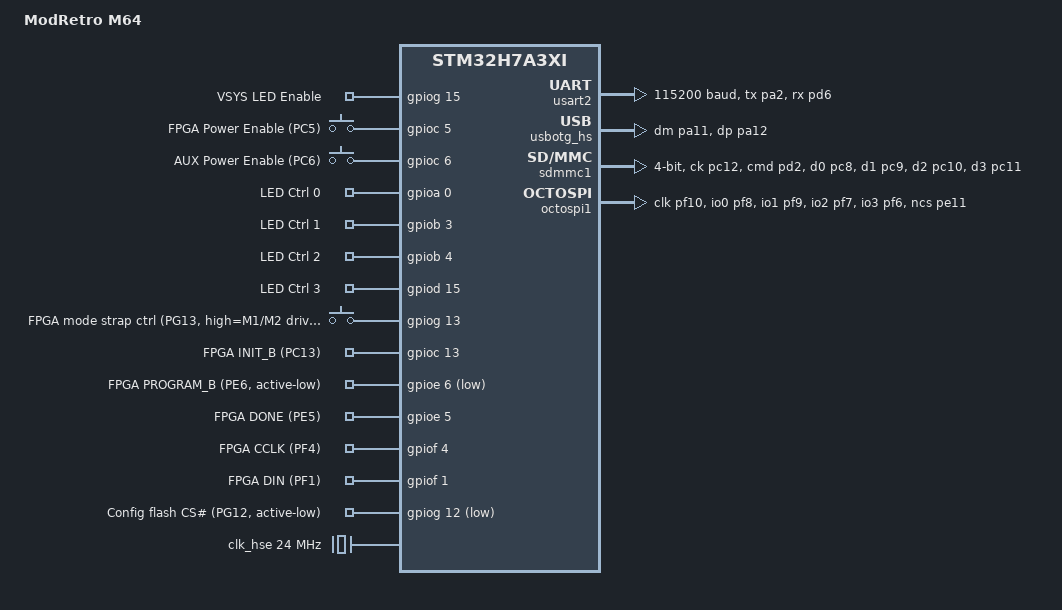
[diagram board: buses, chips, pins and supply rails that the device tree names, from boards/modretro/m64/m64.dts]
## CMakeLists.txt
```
# SPDX-License-Identifier: Apache-2.0

# Application entry point
cmake_minimum_required(VERSION 3.20.0)

# Point Zephyr at this repo's out-of-tree board directory.
set(BOARD_ROOT ${CMAKE_CURRENT_SOURCE_DIR})

find_package(Zephyr REQUIRED HINTS $ENV{ZEPHYR_BASE})
project(m64_app)

target_sources(app PRIVATE src/main.c src/leds.c src/fpga_prg.c src/fpga_spi.c src/osd.c src/menu.c)
```

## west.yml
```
# West manifest for the ModRetro M64 (STM32H7A3ZIT6) application.
#
# This makes m64-misc/mcu a self-contained west workspace that pulls in
# upstream Zephyr but only the modules needed to build for STM32H7.
#
# Bootstrap (from the repo, with a Python venv + west installed):
#
#   cd /home/markus/work/repos/m64-misc
#   west init -l mcu
#   west update
#   west zephyr-export
#
# Then build:
#
#   export ZEPHYR_BASE=$(west topdir)/zephyr
#   cd mcu
#   west build -b m64 .
#
# To add a module later, add its name to the name-allowlist below and
# re-run `west update`.

manifest:
  remotes:
    - name: zephyrproject-rtos
      url-base: https://github.com/zephyrproject-rtos

  projects:
    - name: zephyr
      remote: zephyrproject-rtos
      revision: v4.1.0
      import:
        # Only clone the modules required for an STM32H7 Cortex-M7 target.
        name-allowlist:
          - cmsis          # ARM CMSIS core (required for Cortex-M)
          - hal_stm32      # STM32 HAL/LL drivers (required for this SoC)
          - fatfs          # ELM-ChaN FatFs (FAT filesystem for the SD card)
          # Uncomment as needed:
          # - mcuboot      # secure bootloader
          # - segger       # SEGGER RTT / J-Link
          # - hal_st       # ST sensor/component HALs
          # - littlefs     # LittleFS filesystem
          # - tinycrypt    # crypto primitives

  self:
    # Path of THIS manifest repo within the workspace. `west init -l mcu`
    # sets the workspace root to the parent (m64-misc/), so this repo lives
    # at m64-misc/mcu.
    path: mcu
```

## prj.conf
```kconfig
# Application Kconfig options
CONFIG_SERIAL=y
CONFIG_CONSOLE=y
CONFIG_UART_CONSOLE=y

# Console + logs go over the USB CDC-ACM port (see zephyr,console in the DTS).
CONFIG_LOG=y
# Logs are emitted through the shell's log backend (see below), so the
# standalone UART backend is disabled and deferred mode is used (the shell
# processes log records from its own thread).
CONFIG_LOG_BACKEND_UART=n

# Interactive shell on the USB CDC-ACM port (shares zephyr,shell-uart).
CONFIG_SHELL=y
# Route log output through the shell backend so shell prompts and log
# records don't interleave on the shared console.
CONFIG_SHELL_LOG_BACKEND=y
# Immediate (synchronous) logging: render each LOG_* at the call site instead
# of queuing it for the shell thread to drain when idle. Without this, logs
# emitted inside a long-running/blocking shell command handler are not printed
# until the handler returns (and never, if it blocks). Useful for bring-up.
CONFIG_LOG_MODE_IMMEDIATE=y

# USB device stack + CDC-ACM, used as the primary console.
# Initialize the USB device stack automatically at boot so the console is
# up before main() (and the logging backend) writes to it.
CONFIG_USB_DEVICE_STACK=y
CONFIG_USB_DEVICE_INITIALIZE_AT_BOOT=y
CONFIG_USB_DEVICE_PRODUCT="ModRetro M64"
CONFIG_USB_CDC_ACM=y
CONFIG_UART_LINE_CTRL=y

# System info for the console banner.
CONFIG_HWINFO=y
CONFIG_REBOOT=y
CONFIG_PRINTK=y

# SD card on SDMMC1: disk access + SD/SDHC stack.
CONFIG_DISK_ACCESS=y
CONFIG_DISK_DRIVER_SDMMC=y
CONFIG_SDMMC_STACK=y
CONFIG_SDHC=y

# Enable SDMMC hardware flow control: the peripheral stalls the SD clock when
# the FIFO is full/empty, preventing RX overrun / TX underrun on this marginal
# card layout (observed SDMMC_ERROR_RX_OVERRUN without it).
CONFIG_SDMMC_STM32_HWFC=y

# FAT filesystem (removable, PC-readable).
CONFIG_FILE_SYSTEM=y
CONFIG_FAT_FILESYSTEM_ELM=y
# Long filename (LFN) support. Without this FatFs only handles 8.3 names.
CONFIG_FS_FATFS_LFN=y
# LFN work-buffer location.
CONFIG_FS_FATFS_LFN_MODE_HEAP=y
# Max LFN length (1..255). Static buffer costs (MAX_LFN+1)*2 bytes.
CONFIG_FS_FATFS_MAX_LFN=255

# USB Mass Storage: export the SD card's raw blocks to the host.
# The MSC LUN maps directly to the SDMMC "SD" disk (disk_access_*), so the
# host sees the real card. FatFs and the host cannot own the FAT at the same
# time, so 'm64 sd usb on' unmounts FatFs before handing the card over.
CONFIG_USB_MASS_STORAGE=y
CONFIG_MASS_STORAGE_DISK_NAME="SD"

# CRC library, for verifying SD reads of the bitstream (m64 fpgacrc).
CONFIG_CRC=y

# OCTOSPI1 to the FPGA (custom SPI slave) is driven directly through the STM32
# HAL (HAL_OSPI_*) from src/ospi.c; no Zephyr flash driver binds to the node.
# USE_STM32_HAL_OSPI has no prompt (it is normally select'd by a driver), so it
# is select'd from the board Kconfig (boards/modretro/m64/Kconfig.m64) instead.

# libc malloc()/calloc() arena. The default arena size can be 0, in which
# case calloc() returns NULL.
CONFIG_COMMON_LIBC_MALLOC_ARENA_SIZE=8192

# Kernel heap (k_malloc), also used by FatFs for the LFN buffer.
CONFIG_HEAP_MEM_POOL_SIZE=8192

# Fault debugging: print extra register/fault info and thread names on a crash
# (resolve PC/LR with arm-zephyr-eabi-addr2line -e build/zephyr/zephyr.elf).
CONFIG_EXTRA_EXCEPTION_INFO=y
CONFIG_THREAD_NAME=y
```

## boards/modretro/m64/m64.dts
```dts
/*
 * SPDX-License-Identifier: Apache-2.0
 *
 * ModRetro M64 board devicetree.
 * SoC: STM32H7A3ZIT6 (LQFP144).
 *
 */

/dts-v1/;

/* Base SoC devicetree for the STM32H7A3xI (2 MB flash) family. */
#include <st/h7/stm32h7a3Xi.dtsi>
/* Pin control definitions for the ZI (LQFP144) package.
 * Non-Q (without-SMPS) variant: this is the STM32H7A3ZIT6 pinout that exposes
 * PF0-PF15 and PG0-PG15 (the SMPS supply pins are reassigned as GPIO.)
 */
#include <st/h7/stm32h7a3z(g-i)tx-pinctrl.dtsi>

#include <zephyr/dt-bindings/gpio/gpio.h>
#include <zephyr/dt-bindings/input/input-event-codes.h>

/ {
	model = "ModRetro M64";
	compatible = "modretro,m64";

	chosen {
		/*
		 * Primary console (printk, logs, boot banner, faults) on the
		 * USB CDC-ACM port. USART2 remains available as a wired backup
		 * but is no longer the chosen console.
		 */
		zephyr,console = &cdc_acm_uart0;
		zephyr,shell-uart = &cdc_acm_uart0;
		zephyr,sram = &sram0;
		zephyr,flash = &flash0;
		/* Place code tagged __itcm_section in zero-wait-state ITCM
		 * (used for the cycle-tight WS2812 bit-bang). */
		zephyr,itcm = &itcm;
	};

	/*
	 * Board-specific general-purpose GPIOs (Option B: custom node,
	 * driven directly via GPIO_DT_SPEC_GET(DT_NODELABEL(...), gpios)).
	 */
	m64_gpios {
		compatible = "gpio-keys";
		// Power domain enables
		vsys_led_on: vsys_led_on {
			gpios = <&gpiog 15 GPIO_ACTIVE_HIGH>;
			label = "VSYS LED Enable";
		};
		fpga_pwr_en: fpga_pwr_en {
			gpios = <&gpioc 5 GPIO_ACTIVE_HIGH>;
			label = "FPGA Power Enable (PC5)";
		};
		aux_pwr_en: aux_pwr_en {
			gpios = <&gpioc 6 GPIO_ACTIVE_HIGH>;
			label = "AUX Power Enable (PC6)";
		};

		// LEDs
		ctrl_led_data_0: ctrl_led_data_0 {
			gpios = <&gpioa 0 GPIO_ACTIVE_HIGH>;
			label = "LED Ctrl 0";
		};
		ctrl_led_data_1: ctrl_led_data_1 {
			gpios = <&gpiob 3 GPIO_ACTIVE_HIGH>;
			label = "LED Ctrl 1";
		};
		ctrl_led_data_2: ctrl_led_data_2 {
			gpios = <&gpiob 4 GPIO_ACTIVE_HIGH>;
			label = "LED Ctrl 2";
		};
		ctrl_led_data_3: ctrl_led_data_3 {
			gpios = <&gpiod 15 GPIO_ACTIVE_HIGH>;
			label = "LED Ctrl 3";
		};

		// FPGA interface
		fpga_ss_boot_ctrl: fpga_ss_boot_ctrl {
			gpios = <&gpiog 13 GPIO_ACTIVE_HIGH>;
			label = "FPGA mode strap ctrl (PG13, high=M1/M2 driven to 1V8 => M[2:0]=111)";
		};
		fpga_init_b: fpga_init_b {
			gpios = <&gpioc 13 GPIO_ACTIVE_HIGH>;
			label = "FPGA INIT_B (PC13)";
		};
		fpga_program_b: fpga_program_b {
			gpios = <&gpioe 6 GPIO_ACTIVE_LOW>;
			label = "FPGA PROGRAM_B (PE6, active-low)";
		};
		fpga_done: fpga_done {
			gpios = <&gpioe 5 GPIO_ACTIVE_HIGH>;
			label = "FPGA DONE (PE5)";
		};

		/*
		 * Slave-Serial configuration clock/data, bit-banged as plain
		 * GPIOs (temporary bring-up). CCLK=PF4, DIN=PF0. Bitstream is
		 * shifted MSB-first, one bit per CCLK rising edge.
		 */
		fpga_cclk: fpga_cclk {
			gpios = <&gpiof 4 GPIO_ACTIVE_HIGH>;
			label = "FPGA CCLK (PF4)";
		};
		fpga_din: fpga_din {
			gpios = <&gpiof 1 GPIO_ACTIVE_HIGH>;
			label = "FPGA DIN (PF1)";
		};

		/*
		 * Config flash chip-select (PG12 = OCTOSPI2 NCS). The bitstream
		 * flash shares the CCLK/DIN bus with the FPGA's Slave-Serial
		 * input, so it must be DESELECTED (CS# high) during FPGA config
		 * to keep it off the shared IO0/DIN line. Active-low.
		 */
		flash_cs: flash_cs {
			gpios = <&gpiog 12 GPIO_ACTIVE_LOW>;
			label = "Config flash CS# (PG12, active-low)";
		};
	};
};

/*
 * Clock tree.
 *
 * HSE: 24 MHz passive crystal across PH0-OSC_IN / PH1-OSC_OUT (no bypass).
 * PLL1: 24 MHz / M=12 = 2 MHz ref; xN=280 -> VCO 560 MHz; /P=2 -> 280 MHz SYSCLK.
 */
&clk_hse {
	clock-frequency = <DT_FREQ_M(24)>;
	status = "okay";
};

&clk_hsi48 {
	/* 48 MHz RC, useful for USB/RNG. */
	status = "okay";
};

&pll {
	div-m = <12>;
	mul-n = <280>;
	div-p = <2>;
	div-q = <2>;
	div-r = <2>;
	clocks = <&clk_hse>;
	status = "okay";
};

/*
 * PLL2 provides the 48 MHz SDMMC1 kernel clock (via PLL2R).
 *
 * HSE 24 MHz / M=4 = 6 MHz ref; xN=80 -> VCO 480 MHz; /R=10 -> 48 MHz.
 * (P and Q are unused here but must be valid dividers.)
 */
&pll2 {
	div-m = <4>;
	mul-n = <80>;
	div-p = <2>;
	div-q = <2>;
	div-r = <10>;
	clocks = <&clk_hse>;
	status = "okay";
};

&rcc {
	clocks = <&pll>;
	clock-frequency = <DT_FREQ_M(280)>;
	d1cpre = <1>;
	hpre = <1>;
	d1ppre = <2>;
	d2ppre1 = <2>;
	d2ppre2 = <2>;
	d3ppre = <2>;
};

/*
 * Shell / boot-log / console UART.
 *
 * USART2: TX = PA2, RX = PD6 (per M64 schematic).
 */
&usart2 {
	pinctrl-0 = <&usart2_tx_pa2 &usart2_rx_pd6>;
	pinctrl-names = "default";
	current-speed = <115200>;
	status = "okay";
};

/*
 * USB OTG HS running on the internal full-speed PHY (PA11/PA12).
 *
 * This is the same connector used for ROM-bootloader DFU. Full-speed
 * (12 Mbit/s) is ample for a CDC-ACM console. Inherits the SoC-default
 * clocks (AHB1 USB1OTGHSEN + HSI48) and the internal usb-nop-xceiv PHY.
 *
 * NOTE: The external USB3300 ULPI HS PHY is on a separate port and is not
 * used here; switch back to it if Hi-Speed throughput is needed later.
 */
zephyr_udc0: &usbotg_hs {
	pinctrl-0 = <&usb_otg_hs_dm_pa11 &usb_otg_hs_dp_pa12>;
	pinctrl-names = "default";
	status = "okay";

	cdc_acm_uart0: cdc_acm_uart0 {
		compatible = "zephyr,cdc-acm-uart";
	};
};

/*
 * SD card on SDMMC1 (4-bit bus).
 *
 *   CK  = PC12   CMD = PD2
 *   D0  = PC8    D1  = PC9    D2  = PC10   D3  = PC11
 *   DET = PE15 (card-detect, active-low: pulled low when a card is present)
 *
 * The SDMMC kernel clock is provided by the SoC default; adjust the RCC
 * domain-clock source here if the card fails to initialise.
 */
&sdmmc1 {
	pinctrl-0 = <&sdmmc1_ck_pc12 &sdmmc1_cmd_pd2
		     &sdmmc1_d0_pc8 &sdmmc1_d1_pc9
		     &sdmmc1_d2_pc10 &sdmmc1_d3_pc11>;
	pinctrl-names = "default";
	/* AHB3 bus-clock gate + 48 MHz kernel clock from PLL2R (SDMMC_SEL=1). */
	clocks = <&rcc STM32_CLOCK_BUS_AHB3 0x00010000>,
		 <&rcc STM32_SRC_PLL2_R SDMMC_SEL(1)>;
	cd-gpios = <&gpioe 15 GPIO_ACTIVE_LOW>;
	bus-width = <4>;
	/* Card clock = SDMMCCLK / (2 * clk-div) = 48 MHz / 2 = 24 MHz. */
	clk-div = <1>;
	disk-name = "SD";
	status = "okay";
};

/*
 * Custom SPI/QSPI link to the FPGA over OCTOSPI1 (I/O port 1).
 *
 * The FPGA implements a custom SPI slave; the MCU drives it directly via the
 * STM32 HAL (HAL_OSPI_*), not the Zephyr st,stm32-ospi-nor driver. Because no
 * NOR child node is attached here, no flash driver binds to this controller,
 * leaving the peripheral free for application-owned HAL transactions. This
 * node exists to (a) mux the pins and (b) gate the peripheral clock via the
 * standard Zephyr pinctrl/clock plumbing.
 *
 * Pin map (fixed by silicon on the H7A3 ZI package, I/O port 1):
 *   CLK  = PF10          NCS  = PE11
 *   IO0  = PF8           IO1  = PF9
 *   IO2  = PF7           IO3  = PF6
 *
 * NOTE: IO0..IO3 are hard-mapped to PF8/PF9/PF7/PF6 (not PF6..PF9 in order).
 * The FPGA slave must wire data[0..3] to PF8/PF9/PF7/PF6 respectively or the
 * quad-phase bytes will be bit-scrambled.
 *
 * NOTE: PF6 was previously the (now removed) fpga_rst GPIO. It is reused here
 * as OCTOSPI IO3, so the two functions are mutually exclusive.
 *
 * Kernel clock: PLL1_Q (see stm32h7a3.dtsi default: STM32_SRC_PLL1_Q
 * OSPI_SEL(1)); with the current PLL1 tree that is 280 MHz. Pick the HAL
 * ClockPrescaler in software for the SCLK your FPGA slave can meet.
 */
&octospi1 {
	pinctrl-0 = <&octospim_p1_clk_pf10
		     &octospim_p1_io0_pf8
		     &octospim_p1_io1_pf9
		     &octospim_p1_io2_pf7
		     &octospim_p1_io3_pf6
		     &octospim_p1_ncs_pe11>;
	pinctrl-names = "default";
	status = "okay";
};
```

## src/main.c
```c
#include <ff.h>
#include <soc.h>
#include <stdio.h>
#include <stdlib.h>
#include <string.h>
#include <zephyr/device.h>
#include <zephyr/drivers/gpio.h>
#include <zephyr/drivers/hwinfo.h>
#include <zephyr/drivers/uart.h>
#include <zephyr/fs/fs.h>
#include <zephyr/kernel.h>
#include <zephyr/linker/section_tags.h>
#include <zephyr/logging/log.h>
#include <zephyr/shell/shell.h>
#include <zephyr/storage/disk_access.h>
#include <zephyr/sys/crc.h>
#include <zephyr/version.h>

#include "fpga_prg.h"
#include "fpga_spi.h"
#include "leds.h"
#include "osd.h"

LOG_MODULE_REGISTER(m64, LOG_LEVEL_INF);

/* Board GPIO: VSYS LED enable (PG15, active-high). */
static const struct gpio_dt_spec vsys_led_on = GPIO_DT_SPEC_GET(DT_NODELABEL(vsys_led_on), gpios);
static const struct gpio_dt_spec fpga_pwr_en = GPIO_DT_SPEC_GET(DT_NODELABEL(fpga_pwr_en), gpios);
static const struct gpio_dt_spec aux_pwr_en = GPIO_DT_SPEC_GET(DT_NODELABEL(aux_pwr_en), gpios);

/* FatFs mount for the SD card on SDMMC1 (disk-name "SD" from the DTS). */
static FATFS fat_fs;
static struct fs_mount_t sd_mnt = {
    .type = FS_FATFS,
    .fs_data = &fat_fs,
    .mnt_point = "/SD:",
};

static bool sd_mounted = false;

/* Bring up the SD disk and mount its FAT filesystem. Returns 0 on success,
 * a negative errno on failure (e.g. no card inserted). Non-fatal: the app
 * still boots without a card.
 */
static int mount_sd(void) {
  int rc;

  if (sd_mounted) {
    return 0;
  }

  /* "SD" must match disk-name in the sdmmc node. */
  rc = disk_access_init("SD");
  if (rc != 0) {
    LOG_ERR("SD: disk_access_init failed (%d) - no card?", rc);
    return -EIO;
  }

  rc = fs_mount(&sd_mnt);
  if (rc < 0) {
    LOG_ERR("SD: fs_mount(%s) failed (%d)", sd_mnt.mnt_point, rc);
    return rc;
  }

  sd_mounted = true;
  LOG_INF("SD mounted at %s", sd_mnt.mnt_point);
  return 0;
}

/* Unmount the SD filesystem. Returns 0 on success (or if already
 * unmounted), a negative errno on failure.
 */
static int unmount_sd(void) {
  int rc;

  if (!sd_mounted) {
    return 0;
  }

  rc = fs_unmount(&sd_mnt);
  if (rc < 0) {
    LOG_ERR("SD: fs_unmount(%s) failed (%d)", sd_mnt.mnt_point, rc);
    return rc;
  }

  sd_mounted = false;
  LOG_INF("SD unmounted from %s", sd_mnt.mnt_point);
  return 0;
}

static int cmd_m64_sd_mount(const struct shell *sh, size_t argc, char **argv) {
  ARG_UNUSED(argc);
  ARG_UNUSED(argv);

  int rc = mount_sd();

  if (rc != 0) {
    shell_error(sh, "mount failed (%d)", rc);
    return rc;
  }
  shell_print(sh, "mounted at %s", sd_mnt.mnt_point);
  return 0;
}

static int cmd_m64_sd_unmount(const struct shell *sh, size_t argc, char **argv) {
  ARG_UNUSED(argc);
  ARG_UNUSED(argv);

  int rc = unmount_sd();

  if (rc != 0) {
    shell_error(sh, "unmount failed (%d)", rc);
    return rc;
  }
  shell_print(sh, "unmounted");
  return 0;
}

/* List directory contents. Usage: m64 sd ls [path]
 * Path defaults to the mount point if omitted.
 */
static int cmd_m64_sd_ls(const struct shell *sh, size_t argc, char **argv) {
  const char *path = (argc > 1) ? argv[1] : sd_mnt.mnt_point;
  struct fs_dir_t dir;
  int rc;

  if (!sd_mounted) {
    shell_error(sh, "SD not mounted (run 'm64 sd mount')");
    return -ENODEV;
  }

  fs_dir_t_init(&dir);
  rc = fs_opendir(&dir, path);
  if (rc < 0) {
    shell_error(sh, "opendir(%s) failed (%d)", path, rc);
    return rc;
  }

  while (1) {
    struct fs_dirent entry;

    rc = fs_readdir(&dir, &entry);
    if (rc < 0) {
      shell_error(sh, "readdir failed (%d)", rc);
      break;
    }
    if (entry.name[0] == '\0') {
      break; /* end of directory */
    }

    if (entry.type == FS_DIR_ENTRY_DIR) {
      shell_print(sh, "  <DIR>  %s", entry.name);
    } else {
      shell_print(sh, "  %6zu %s", entry.size, entry.name);
    }
  }

  fs_closedir(&dir);
  return (rc < 0) ? rc : 0;
}

/* Print the contents of a file. Usage: m64 sd cat <path> */
static int cmd_m64_sd_cat(const struct shell *sh, size_t argc, char **argv) {
  const char *path = argv[1];
  struct fs_file_t file;
  char buf[128];
  ssize_t n;
  int rc;

  if (!sd_mounted) {
    shell_error(sh, "SD not mounted (run 'm64 sd mount')");
    return -ENODEV;
  }

  fs_file_t_init(&file);
  rc = fs_open(&file, path, FS_O_READ);
  if (rc < 0) {
    shell_error(sh, "open(%s) failed (%d)", path, rc);
    return rc;
  }

  /* Stream the file to the shell in chunks. shell_fprintf with a
   * bounded %.*s avoids assuming NUL-terminated content. */
  while ((n = fs_read(&file, buf, sizeof(buf))) > 0) {
    shell_fprintf(sh, SHELL_NORMAL, "%.*s", (int)n, buf);
  }

  if (n < 0) {
    shell_error(sh, "read failed (%d)", (int)n);
    rc = (int)n;
  } else {
    /* Ensure the prompt starts on a fresh line. */
    shell_fprintf(sh, SHELL_NORMAL, "\n");
    rc = 0;
  }

  fs_close(&file);
  return rc;
}

/* Dispatch one line to the shell, skipping blanks and '#' comments. */
static int source_run_line(const struct shell *sh, char *line) {
  if (line[0] == '\0' || line[0] == '#') {
    return 0;
  }

  int rc = shell_execute_cmd(sh, line);
  if (rc != 0) {
    shell_error(sh, "command failed (%d): %s", rc, line);
  }
  return rc;
}

/* Execute shell commands from a file, one command per line. Blank lines and
 * lines beginning with '#' are ignored. Stops at the first failing command. */
static int source_file(const struct shell *sh, const char *path) {
  struct fs_file_t file;
  static char line[128];
  size_t len = 0;
  char c;
  ssize_t n;
  int rc;

  if (!sd_mounted) {
    shell_error(sh, "SD not mounted (run 'm64 sd mount')");
    return -ENODEV;
  }

  fs_file_t_init(&file);
  rc = fs_open(&file, path, FS_O_READ);
  if (rc < 0) {
    shell_error(sh, "open(%s) failed (%d)", path, rc);
    return rc;
  }

  /* No performance concern here, so just read a byte at a time and split
   * on '\n' ('\r' is dropped so CRLF files work too). */
  while ((n = fs_read(&file, &c, 1)) == 1) {
    if (c == '\r') {
      continue;
    }

    if (c == '\n') {
      line[len] = '\0';
      rc = source_run_line(sh, line);
      if (rc != 0) {
        goto out;
      }
      len = 0;
      continue;
    }

    if (len >= sizeof(line) - 1) {
      shell_error(sh, "line too long (max %zu)", sizeof(line) - 1);
      rc = -EINVAL;
      goto out;
    }

    line[len++] = c;
  }

  if (n < 0) {
    shell_error(sh, "read failed (%d)", (int)n);
    rc = (int)n;
    goto out;
  }

  /* Handle a trailing line without a terminating newline. */
  if (len > 0) {
    line[len] = '\0';
    rc = source_run_line(sh, line);
  }

out:
  fs_close(&file);
  return rc;
}

/* Execute shell commands from a file. Usage: source <path> */
static int cmd_source(const struct shell *sh, size_t argc, char **argv) {
  return source_file(sh, argv[1]);
}

SHELL_STATIC_SUBCMD_SET_CREATE(
    m64_sd_cmds, SHELL_CMD(mount, NULL, "Mount the SD card.", cmd_m64_sd_mount),
    SHELL_CMD(unmount, NULL, "Unmount the SD card.", cmd_m64_sd_unmount),
    SHELL_CMD_ARG(ls, NULL, "List a directory: ls [path]", cmd_m64_sd_ls, 1, 1),
    SHELL_CMD_ARG(cat, NULL, "Print a file: cat <path>", cmd_m64_sd_cat, 2, 0),
    SHELL_SUBCMD_SET_END);

/* Distributed subcommand set for the "m64" root command. Other translation
 * units (e.g. fpga.c) append their own subcommands with SHELL_SUBCMD_ADD
 * against parent (m64)
 */
SHELL_SUBCMD_SET_CREATE(m64_cmds, (m64));

SHELL_SUBCMD_ADD((m64), sd, &m64_sd_cmds, "SD card control.", NULL, 1, 0);

SHELL_CMD_REGISTER(m64, &m64_cmds, "M64 specific commands.", NULL);

SHELL_CMD_ARG_REGISTER(source, NULL, "source <path to .sh file>", cmd_source, 2, 0);

extern k_tid_t osd_poll_tid;

int main(void) {
  leds_setup_pins();
  fpga_setup_pins();
  fpga_spi_init();

  /* Enable various power domains */
  (void)gpio_pin_configure_dt(&vsys_led_on, GPIO_OUTPUT_ACTIVE);
  (void)gpio_pin_configure_dt(&aux_pwr_en, GPIO_OUTPUT_ACTIVE);
  /* Now power the FPGA on with strap + config pins already stable. */
  (void)gpio_pin_configure_dt(&fpga_pwr_en, GPIO_OUTPUT_INACTIVE);
  (void)gpio_pin_set_dt(&fpga_pwr_en, 0);
  k_msleep(50); /* allow power-on ramp + initial config sequence */
  (void)gpio_pin_set_dt(&fpga_pwr_en, 1);
  k_msleep(50); /* allow power-on ramp + initial config sequence */

  /* Mount the SD card (non-fatal if absent). */
  (void)mount_sd();

  /* Configure FPGA */
  (void)fpga_program_path("/SD:/fpga.bin");

  /* Load RISC-V firmware and boot */
  (void)fpga_bus_write32(0x10000000, 1); // Assert RISC-V reset
  (void)fpga_bus_write_file(0x10010000, "/SD:/bios.bin");
  (void)fpga_bus_write32(0x10000000, 0); // Deassert RISC-V reset

  /* Load OSD font */
  (void)fpga_bus_write_file(0x10030000, "/SD:/font16x16.bin");

  k_wakeup(osd_poll_tid);
  /* Nothing else to do here: the interactive shell runs in its own
   * thread on the USB CDC-ACM console. */
  return 0;
}
```

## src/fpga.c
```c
#include <ff.h>
#include <soc.h>
#include <stdio.h>
#include <stdlib.h>
#include <string.h>
#include <zephyr/device.h>
#include <zephyr/drivers/gpio.h>
#include <zephyr/fs/fs.h>
#include <zephyr/kernel.h>
#include <zephyr/logging/log.h>
#include <zephyr/shell/shell.h>
#include <zephyr/sys/crc.h>

LOG_MODULE_REGISTER(m64_fpga, LOG_LEVEL_INF);

static const struct gpio_dt_spec fpga_ss_boot_ctrl =
    GPIO_DT_SPEC_GET(DT_NODELABEL(fpga_ss_boot_ctrl), gpios);
static const struct gpio_dt_spec fpga_init_b =
    GPIO_DT_SPEC_GET(DT_NODELABEL(fpga_init_b), gpios);
static const struct gpio_dt_spec fpga_program_b =
    GPIO_DT_SPEC_GET(DT_NODELABEL(fpga_program_b), gpios);
static const struct gpio_dt_spec fpga_done =
    GPIO_DT_SPEC_GET(DT_NODELABEL(fpga_done), gpios);
static const struct gpio_dt_spec flash_cs =
    GPIO_DT_SPEC_GET(DT_NODELABEL(flash_cs), gpios);

static const struct gpio_dt_spec fpga_cclk =
    GPIO_DT_SPEC_GET(DT_NODELABEL(fpga_cclk), gpios);
static const struct gpio_dt_spec fpga_din =
    GPIO_DT_SPEC_GET(DT_NODELABEL(fpga_din), gpios);

static const struct gpio_dt_spec fpga_rst =
    GPIO_DT_SPEC_GET(DT_NODELABEL(fpga_rst), gpios);

/*
 * ---------------------------------------------------------------------------
 * FPGA Slave-Serial configuration - BIT-BANG (temporary bring-up).
 *
 * CCLK = PF4, DIN = PF0, driven as plain GPIOs. This is a simple, robust
 * proof-of-life to confirm the FPGA configures: read a chunk from SD into
 * RAM, then clock it out bit-by-bit (MSB-first, data set up before the
 * rising CCLK edge, per Xilinx Slave-Serial). SD and GPIO never contend
 * because each SD read completes before we clock its bytes out.
 *
 * Not fast, but FPGA configuration is a one-time boot operation. Speed can
 * be revisited later (e.g. OCTOSPI or SPI on suitable pins).
 * ---------------------------------------------------------------------------
 */
#define FPGA_CCLK_PORT GPIOF
#define FPGA_CCLK_PIN 4U
#define FPGA_DIN_PORT GPIOF
#define FPGA_DIN_PIN 1U

/* BSRR set/reset masks (atomic single-store level changes). */
#define FPGA_CCLK_SET (1U << FPGA_CCLK_PIN)
#define FPGA_CCLK_CLR (1U << (FPGA_CCLK_PIN + 16))
#define FPGA_DIN_SET (1U << FPGA_DIN_PIN)
#define FPGA_DIN_CLR (1U << (FPGA_DIN_PIN + 16))

void fpga_setup_pins(void) {
  /* Set FPGA configuration mode to 'Slave Serial' (M[2:0] = 3'b111).
   * PG13 gates two N-FETs wired high-side (1V8 -> FET -> M1/M2). Gate high
   * turns them on, driving M1/M2 to 1V8 = 1; M0 has a fixed pull-up. So
   * PG13 high => M[2:0]=111 (active-high strap control). */
  (void)gpio_pin_configure_dt(&fpga_ss_boot_ctrl, GPIO_OUTPUT_ACTIVE);
  /* Set FPGA programming interface to inactive state (PROGRAM_B deasserted;
   * active-low + open-drain, so this drives the line physically high). */
  (void)gpio_pin_configure_dt(&fpga_program_b,
                              GPIO_OUTPUT_INACTIVE | GPIO_OPEN_DRAIN);
  (void)gpio_pin_configure_dt(&fpga_init_b, GPIO_INPUT);
  (void)gpio_pin_configure_dt(&fpga_done, GPIO_INPUT);

  /* Bit-bang config bus: CCLK (PF4) and DIN (PF0) as push-pull outputs,
   * both idle low. This also enables the GPIOF port clock. */
  (void)gpio_pin_configure_dt(&fpga_cclk, GPIO_OUTPUT_INACTIVE);
  (void)gpio_pin_configure_dt(&fpga_din, GPIO_OUTPUT_INACTIVE);
  (void)gpio_pin_configure_dt(&fpga_rst, GPIO_OUTPUT_INACTIVE);

  /* Deselect the config flash (CS# high) so it stays off the shared
   * CCLK/DIN bus. Active-low, so OUTPUT_INACTIVE drives PG12 high. */
  (void)gpio_pin_configure_dt(&flash_cs, GPIO_OUTPUT_INACTIVE);
}

/* Clock out one byte. */
static inline void fpga_bitbang_byte(uint8_t b) {
  for (int k = 0; k < 8; k++) {
    uint32_t din = (b & (1U << (7 - k))) ? FPGA_DIN_SET : FPGA_DIN_CLR;

    /* Idle low; sample on rising edge. */
    FPGA_DIN_PORT->BSRR = din;
    // XXX:TODO: Use CYCCNT here instead of nops
    __asm__ volatile("nop" ::: "memory");
    __asm__ volatile("nop" ::: "memory");
    __asm__ volatile("nop" ::: "memory");
    FPGA_CCLK_PORT->BSRR = FPGA_CCLK_SET; /* rising: latch */
    __asm__ volatile("nop" ::: "memory");
    __asm__ volatile("nop" ::: "memory");
    __asm__ volatile("nop" ::: "memory");
    FPGA_CCLK_PORT->BSRR = FPGA_CCLK_CLR; /* return low */
    __asm__ volatile("nop" ::: "memory");
    __asm__ volatile("nop" ::: "memory");
    __asm__ volatile("nop" ::: "memory");
  }
}

/* Program the FPGA in Slave-Serial mode (bit-banged) from a raw .bin on SD.
 *
 * Expects a raw .bin (write_bitstream -bin_file): no header to skip.
 * Returns 0 on success, negative errno otherwise.
 */
static int fpga_program_path(const char *binpath) {
  struct fs_file_t file;
  /* Large buffer so each SD read is a fast contiguous burst; the slow
   * bit-bang then runs with the SD idle. This avoids interleaving many
   * small reads with the slow clock-out, which was overrunning the
   * marginal SD link (SDMMC_ERROR_RX_OVERRUN). 64 KiB fits in main RAM. */
  static uint8_t cfg_buf[1024];
  ssize_t n;
  int rc;

  fs_file_t_init(&file);
  rc = fs_open(&file, binpath, FS_O_READ);
  if (rc < 0) {
    LOG_ERR("open(%s) failed (%d)", binpath, rc);
    return rc;
  }

  /* Idle CCLK to the phase's resting level before starting. */
  FPGA_CCLK_PORT->BSRR = FPGA_CCLK_CLR;

  /* Ensure the config flash is deselected so it can't drive the shared
   * IO0/DIN line while we clock the bitstream into the FPGA. */
  (void)gpio_pin_set_dt(&flash_cs, 0); /* 0 = inactive = CS# high */

  /* Pulse PROGRAM_B low to start a fresh configuration. */
  (void)gpio_pin_set_dt(&fpga_program_b, 1); /* assert (active low) */
  k_msleep(1);
  LOG_INF("INIT_B during clear (expect 0): %d", gpio_pin_get_dt(&fpga_init_b));
  (void)gpio_pin_set_dt(&fpga_program_b, 0); /* release: drive high */

  /* Wait for INIT_B high = config memory cleared, ready for data.
   * Bounded so a stuck-low INIT_B fails loudly instead of hanging the
   * shell thread forever (which also blocks deferred log draining). */
  int init_b_timeout_ms = 100;
  while (gpio_pin_get_dt(&fpga_init_b) == 0) {
    if (--init_b_timeout_ms < 0) {
      LOG_ERR("INIT_B stuck low: FPGA not clearing config "
              "memory (check PROGRAM_B, INIT_B pull-up, "
              "power, straps)");
      fs_close(&file);
      return -ETIMEDOUT;
    }
    k_msleep(1);
  }
  LOG_INF("FPGA ready for bitstream (bit-bang)");

  /* Read a big block, then clock it out; repeat. SD and GPIO never
   * overlap, and each SD session is a fast burst.
   *
   * While clocking, watch INIT_B: in Slave-Serial a listening FPGA pulls
   * INIT_B low if it hits a CRC error, so a dip proves our data is
   * actually reaching the config engine. Never dipping across the whole
   * image means the FPGA isn't seeing CCLK/DIN as config input at all.
   */
  bool init_b_dipped = false;
  size_t total_clocked = 0;

  while ((n = fs_read(&file, cfg_buf, sizeof(cfg_buf))) > 0) {
    for (ssize_t i = 0; i < n; i++) {
      fpga_bitbang_byte(cfg_buf[i]);

      /* Cheap periodic check (every 256 bytes). */
      if (((i & 0xFF) == 0) && !init_b_dipped &&
          gpio_pin_get_dt(&fpga_init_b) == 0) {
        init_b_dipped = true;
        LOG_WRN("INIT_B went LOW at ~%zu bytes "
                "(FPGA flagged a config/CRC error - "
                "data IS reaching it)",
                total_clocked + (size_t)i);
      }
    }
    total_clocked += (size_t)n;
  }
  fs_close(&file);

  LOG_INF("clocked %zu bytes; INIT_B dipped during load: %s", total_clocked,
          init_b_dipped ? "YES" : "NO");

  if (n < 0) {
    LOG_ERR("read failed (%d)", (int)n);
    return (int)n;
  }

  /*
   * Startup: after the last data byte the FPGA needs extra CCLK cycles
   * to complete its startup sequence and release DONE. DONE is asserted
   * partway through startup, so clock in bursts and poll DONE rather
   * than sending a fixed number of clocks. Bail out after a generous
   * bound (~ a few thousand extra clocks).
   */
  for (int burst = 0; burst < 256; burst++) {
    for (int i = 0; i < 8; i++) {
      fpga_bitbang_byte(0xFF); /* 64 clocks per burst */
    }
    if (gpio_pin_get_dt(&fpga_done) == 1) {
      LOG_INF("FPGA configured: DONE high after %d startup clocks",
              (burst + 1) * 64);

      // Apply core reset
      (void)gpio_pin_configure_dt(&fpga_rst, GPIO_OUTPUT_ACTIVE);
      k_msleep(1);
      (void)gpio_pin_configure_dt(&fpga_rst, GPIO_OUTPUT_INACTIVE);

      return 0;
    }
  }

  LOG_ERR("FPGA config failed: DONE low (INIT_B=%d)",
          gpio_pin_get_dt(&fpga_init_b));

  return -EIO;
}

/* m64 fpga [path] [phase] : program the FPGA (Slave-Serial) from a .bin.
 *   phase 0 = sample on rising CCLK edge (default), 1 = falling edge.
 */
static int cmd_m64_fpga(const struct shell *sh, size_t argc, char **argv) {
  const char *path = (argc > 1) ? argv[1] : "/SD:/fpga.bin";
  int rc;

  shell_print(sh, "programming...");

  rc = fpga_program_path(path);
  if (rc != 0) {
    shell_error(sh, "FPGA program failed (%d)", rc);
    return rc;
  }
  shell_print(sh, "FPGA programmed from %s", path);
  return 0;
}

/* Attach "fpga" as a subcommand of the "m64" root command defined in main.c.
 * The parent's subcommand set is created there with SHELL_SUBCMD_SET_CREATE. */
SHELL_SUBCMD_ADD((m64), fpga, NULL, "Program FPGA: fpga [path]", cmd_m64_fpga,
                 1, 1);
```

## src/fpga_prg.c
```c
#include <ff.h>
#include <soc.h>
#include <stdio.h>
#include <stdlib.h>
#include <string.h>
#include <zephyr/device.h>
#include <zephyr/drivers/gpio.h>
#include <zephyr/fs/fs.h>
#include <zephyr/kernel.h>
#include <zephyr/logging/log.h>
#include <zephyr/shell/shell.h>
#include <zephyr/sys/crc.h>

#include "fpga_prg.h"

LOG_MODULE_REGISTER(m64_fpga, LOG_LEVEL_INF);

static const struct gpio_dt_spec fpga_ss_boot_ctrl =
    GPIO_DT_SPEC_GET(DT_NODELABEL(fpga_ss_boot_ctrl), gpios);
static const struct gpio_dt_spec fpga_init_b = GPIO_DT_SPEC_GET(DT_NODELABEL(fpga_init_b), gpios);
static const struct gpio_dt_spec fpga_program_b =
    GPIO_DT_SPEC_GET(DT_NODELABEL(fpga_program_b), gpios);
static const struct gpio_dt_spec fpga_done = GPIO_DT_SPEC_GET(DT_NODELABEL(fpga_done), gpios);
static const struct gpio_dt_spec flash_cs = GPIO_DT_SPEC_GET(DT_NODELABEL(flash_cs), gpios);

static const struct gpio_dt_spec fpga_cclk = GPIO_DT_SPEC_GET(DT_NODELABEL(fpga_cclk), gpios);
static const struct gpio_dt_spec fpga_din = GPIO_DT_SPEC_GET(DT_NODELABEL(fpga_din), gpios);

/*
 * ---------------------------------------------------------------------------
 * FPGA Slave-Serial configuration - BIT-BANG (temporary bring-up).
 *
 * CCLK = PF4, DIN = PF0, driven as plain GPIOs. This is a simple, robust
 * proof-of-life to confirm the FPGA configures: read a chunk from SD into
 * RAM, then clock it out bit-by-bit (MSB-first, data set up before the
 * rising CCLK edge, per Xilinx Slave-Serial). SD and GPIO never contend
 * because each SD read completes before we clock its bytes out.
 *
 * Not fast, but FPGA configuration is a one-time boot operation. Speed can
 * be revisited later (e.g. OCTOSPI or SPI on suitable pins).
 * ---------------------------------------------------------------------------
 */
#define FPGA_CCLK_PORT GPIOF
#define FPGA_CCLK_PIN 4U
#define FPGA_DIN_PORT GPIOF
#define FPGA_DIN_PIN 1U

/* BSRR set/reset masks (atomic single-store level changes). */
#define FPGA_CCLK_SET (1U << FPGA_CCLK_PIN)
#define FPGA_CCLK_CLR (1U << (FPGA_CCLK_PIN + 16))
#define FPGA_DIN_SET (1U << FPGA_DIN_PIN)
#define FPGA_DIN_CLR (1U << (FPGA_DIN_PIN + 16))

void fpga_setup_pins(void) {
  /* Set FPGA configuration mode to 'Slave Serial' (M[2:0] = 3'b111).
   * PG13 gates two N-FETs wired high-side (1V8 -> FET -> M1/M2). Gate high
   * turns them on, driving M1/M2 to 1V8 = 1; M0 has a fixed pull-up. So
   * PG13 high => M[2:0]=111 (active-high strap control). */
  (void)gpio_pin_configure_dt(&fpga_ss_boot_ctrl, GPIO_OUTPUT_ACTIVE);
  /* Set FPGA programming interface to inactive state (PROGRAM_B deasserted;
   * active-low + open-drain, so this drives the line physically high). */
  (void)gpio_pin_configure_dt(&fpga_program_b, GPIO_OUTPUT_INACTIVE | GPIO_OPEN_DRAIN);
  (void)gpio_pin_configure_dt(&fpga_init_b, GPIO_INPUT);
  (void)gpio_pin_configure_dt(&fpga_done, GPIO_INPUT);

  /* Bit-bang config bus: CCLK (PF4) and DIN (PF0) as push-pull outputs,
   * both idle low. This also enables the GPIOF port clock. */
  (void)gpio_pin_configure_dt(&fpga_cclk, GPIO_OUTPUT_INACTIVE);
  (void)gpio_pin_configure_dt(&fpga_din, GPIO_OUTPUT_INACTIVE);

  /* Deselect the config flash (CS# high) so it stays off the shared
   * CCLK/DIN bus. Active-low, so OUTPUT_INACTIVE drives PG12 high. */
  (void)gpio_pin_configure_dt(&flash_cs, GPIO_OUTPUT_INACTIVE);
}

/* Clock out one byte. */
static inline void fpga_bitbang_byte(uint8_t b) {
  for (int k = 0; k < 8; k++) {
    uint32_t din = (b & (1U << (7 - k))) ? FPGA_DIN_SET : FPGA_DIN_CLR;

    /* Idle low; sample on rising edge. */
    FPGA_DIN_PORT->BSRR = din;
    // XXX:TODO: Use CYCCNT here instead of nops
    __asm__ volatile("nop" ::: "memory");
    __asm__ volatile("nop" ::: "memory");
    __asm__ volatile("nop" ::: "memory");
    FPGA_CCLK_PORT->BSRR = FPGA_CCLK_SET; /* rising: latch */
    __asm__ volatile("nop" ::: "memory");
    __asm__ volatile("nop" ::: "memory");
    __asm__ volatile("nop" ::: "memory");
    FPGA_CCLK_PORT->BSRR = FPGA_CCLK_CLR; /* return low */
    __asm__ volatile("nop" ::: "memory");
    __asm__ volatile("nop" ::: "memory");
    __asm__ volatile("nop" ::: "memory");
  }
}

/* Program the FPGA in Slave-Serial mode (bit-banged) from a raw .bin on SD.
 *
 * Expects a raw .bin (write_bitstream -bin_file): no header to skip.
 * Returns 0 on success, negative errno otherwise.
 */
int fpga_program_path(const char *binpath) {
  struct fs_file_t file;
  /* Large buffer so each SD read is a fast contiguous burst; the slow
   * bit-bang then runs with the SD idle. This avoids interleaving many
   * small reads with the slow clock-out, which was overrunning the
   * marginal SD link (SDMMC_ERROR_RX_OVERRUN). 64 KiB fits in main RAM. */
  static uint8_t cfg_buf[1024];
  ssize_t n;
  int rc;

  fs_file_t_init(&file);
  rc = fs_open(&file, binpath, FS_O_READ);
  if (rc < 0) {
    LOG_ERR("open(%s) failed (%d)", binpath, rc);
    return rc;
  }

  /* Idle CCLK to the phase's resting level before starting. */
  FPGA_CCLK_PORT->BSRR = FPGA_CCLK_CLR;

  /* Ensure the config flash is deselected so it can't drive the shared
   * IO0/DIN line while we clock the bitstream into the FPGA. */
  (void)gpio_pin_set_dt(&flash_cs, 0); /* 0 = inactive = CS# high */

  /* Pulse PROGRAM_B low to start a fresh configuration. */
  (void)gpio_pin_set_dt(&fpga_program_b, 1); /* assert (active low) */
  k_msleep(1);
  LOG_INF("INIT_B during clear (expect 0): %d", gpio_pin_get_dt(&fpga_init_b));
  (void)gpio_pin_set_dt(&fpga_program_b, 0); /* release: drive high */

  /* Wait for INIT_B high = config memory cleared, ready for data.
   * Bounded so a stuck-low INIT_B fails loudly instead of hanging the
   * shell thread forever (which also blocks deferred log draining). */
  int init_b_timeout_ms = 100;
  while (gpio_pin_get_dt(&fpga_init_b) == 0) {
    if (--init_b_timeout_ms < 0) {
      LOG_ERR("INIT_B stuck low: FPGA not clearing config "
              "memory (check PROGRAM_B, INIT_B pull-up, "
              "power, straps)");
      fs_close(&file);
      return -ETIMEDOUT;
    }
    k_msleep(1);
  }
  LOG_INF("FPGA ready for bitstream (bit-bang)");

  /* Read a big block, then clock it out; repeat. SD and GPIO never
   * overlap, and each SD session is a fast burst.
   *
   * While clocking, watch INIT_B: in Slave-Serial a listening FPGA pulls
   * INIT_B low if it hits a CRC error, so a dip proves our data is
   * actually reaching the config engine. Never dipping across the whole
   * image means the FPGA isn't seeing CCLK/DIN as config input at all.
   */
  bool init_b_dipped = false;
  size_t total_clocked = 0;

  while ((n = fs_read(&file, cfg_buf, sizeof(cfg_buf))) > 0) {
    for (ssize_t i = 0; i < n; i++) {
      fpga_bitbang_byte(cfg_buf[i]);

      /* Cheap periodic check (every 256 bytes). */
      if (((i & 0xFF) == 0) && !init_b_dipped && gpio_pin_get_dt(&fpga_init_b) == 0) {
        init_b_dipped = true;
        LOG_WRN("INIT_B went LOW at ~%zu bytes "
                "(FPGA flagged a config/CRC error - "
                "data IS reaching it)",
                total_clocked + (size_t)i);
      }
    }
    total_clocked += (size_t)n;
  }
  fs_close(&file);

  LOG_INF("clocked %zu bytes; INIT_B dipped during load: %s", total_clocked,
          init_b_dipped ? "YES" : "NO");

  if (n < 0) {
    LOG_ERR("read failed (%d)", (int)n);
    return (int)n;
  }

  /*
   * Startup: after the last data byte the FPGA needs extra CCLK cycles
   * to complete its startup sequence and release DONE. DONE is asserted
   * partway through startup, so clock in bursts and poll DONE rather
   * than sending a fixed number of clocks. Bail out after a generous
   * bound (~ a few thousand extra clocks).
   */
  for (int burst = 0; burst < 256; burst++) {
    for (int i = 0; i < 8; i++) {
      fpga_bitbang_byte(0xFF); /* 64 clocks per burst */
    }
    if (gpio_pin_get_dt(&fpga_done) == 1) {
      LOG_INF("FPGA configured: DONE high after %d startup clocks", (burst + 1) * 64);

      return 0;
    }
  }

  LOG_ERR("FPGA config failed: DONE low (INIT_B=%d)", gpio_pin_get_dt(&fpga_init_b));

  return -EIO;
}

/* m64 fpga program [path] : program the FPGA (Slave-Serial) from a .bin.
 *   phase 0 = sample on rising CCLK edge (default), 1 = falling edge.
 */
static int cmd_fpga_prog(const struct shell *sh, size_t argc, char **argv) {
  const char *path = (argc > 1) ? argv[1] : "/SD:/fpga.bin";
  int rc;

  shell_print(sh, "programming...");

  rc = fpga_program_path(path);
  if (rc != 0) {
    shell_error(sh, "FPGA program failed (%d)", rc);
    return rc;
  }
  shell_print(sh, "FPGA programmed from %s", path);
  return 0;
}

/* Distributed subcommand set for the "m64 fpga" command. This file owns the
 * set; other translation units (e.g. fpga_spi.c) append their own children
 * with SHELL_SUBCMD_ADD against parent (m64, fpga). The "fpga" node itself is
 * attached to the "m64" root command defined in main.c. */
SHELL_SUBCMD_SET_CREATE(m64_fpga_cmds, (m64, fpga));

SHELL_SUBCMD_ADD((m64), fpga, &m64_fpga_cmds, "FPGA control.", NULL, 1, 0);

/* m64 fpga program [path] : program the FPGA (Slave-Serial) from a .bin. */
SHELL_SUBCMD_ADD((m64, fpga), program, NULL, "Program FPGA: program [path]", cmd_fpga_prog, 1, 1);
```

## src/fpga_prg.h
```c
#ifndef M64_FPGA_PRG_H
#define M64_FPGA_PRG_H

void fpga_setup_pins(void);
int fpga_program_path(const char *binpath);

#endif /* M64_FPGA_PRG_H */
```

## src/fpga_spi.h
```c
#ifndef M64_FPGA_SPI_H
#define M64_FPGA_SPI_H

#include <stddef.h>
#include <stdint.h>

void fpga_spi_init(void);
int fpga_bus_read32(uint32_t addr, uint32_t *data);
int fpga_bus_write(uint32_t addr, uint8_t *buf, size_t len);
int fpga_bus_write32(uint32_t addr, uint32_t data);
int fpga_bus_write_file(uint32_t addr, const char *path);

#endif /* M64_FPGA_SPI_H */
```

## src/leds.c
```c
#include <ff.h>
#include <soc.h>
#include <stdio.h>
#include <stdlib.h>
#include <string.h>
#include <zephyr/device.h>
#include <zephyr/drivers/gpio.h>
#include <zephyr/kernel.h>
#include <zephyr/linker/section_tags.h>
#include <zephyr/logging/log.h>
#include <zephyr/shell/shell.h>

// XXX:TODO: The CYCCNT register is clearable
// https://support.arm.com/documentation/ddi0403/d/Debug-Architecture/ARMv7-M-Debug/The-Data-Watchpoint-and-Trace-unit/Cycle-Count-register--DWT-CYCCNT?lang=en
// so instead of repated delays (that accumulate error) a more accurate
// approach could be to clear the CYCCNT at the start of the transfer and then
// 'add up the hold points' so that they are in aboslute time.

#include "leds.h"

LOG_MODULE_REGISTER(m64_leds, LOG_LEVEL_INF);

static const struct gpio_dt_spec ctrl_led_data_0 =
    GPIO_DT_SPEC_GET(DT_NODELABEL(ctrl_led_data_0), gpios);
static const struct gpio_dt_spec ctrl_led_data_1 =
    GPIO_DT_SPEC_GET(DT_NODELABEL(ctrl_led_data_1), gpios);
static const struct gpio_dt_spec ctrl_led_data_2 =
    GPIO_DT_SPEC_GET(DT_NODELABEL(ctrl_led_data_2), gpios);
static const struct gpio_dt_spec ctrl_led_data_3 =
    GPIO_DT_SPEC_GET(DT_NODELABEL(ctrl_led_data_3), gpios);

/*
 * Bit-banged WS2812B driver on ctrl_led_data_0 (PA0).
 *
 * The WS2812 GPIO strip driver in Zephyr is Nordic-only, and PA0 is not an
 * SPI MOSI pin, so we drive the protocol by hand. Data is written straight
 * to the GPIO port's BSRR register (atomic set/reset, single store) rather
 * than through the GPIO API, which is far too slow for the sub-microsecond
 * bit timing.
 *
 * Timing (WS2812B, ~±150 ns tolerance):
 *   1 bit: ~0.8 us high, ~0.45 us low
 *   0 bit: ~0.4 us high, ~0.85 us low
 *   reset: line low >= ~50 us
 *
 * Delays are spin loops calibrated for the 280 MHz core clock. The NOP
 * counts are approximate and may need trimming on a scope.
 */

/* Enable the DWT cycle counter (present on Cortex-M7). Used for accurate
 * sub-microsecond delays independent of flash/cache effects. */
static void cyccnt_enable(void) {
  CoreDebug->DEMCR |= CoreDebug_DEMCR_TRCENA_Msk;
  DWT->CYCCNT = 0;
  DWT->CTRL |= DWT_CTRL_CYCCNTENA_Msk;
}

/* Busy-wait for an exact number of CPU cycles using DWT->CYCCNT.
 * always_inline so it folds into the ITCM-resident caller (no separate
 * out-of-ITCM call in the timed path). */
static inline __attribute__((always_inline)) void delay_cycles(uint32_t cycles) {
  uint32_t start = DWT->CYCCNT;

  while ((DWT->CYCCNT - start) < cycles) {
    /* spin */
  }
}

/* Core clock is 280 MHz -> 1 cycle ≈ 3.571 ns.
 * WS2812B bit timing:
 *   T1H 0.80 us ≈ 224 cyc   T1L 0.45 us ≈ 126 cyc
 *   T0H 0.40 us ≈ 112 cyc   T0L 0.85 us ≈ 238 cyc
 */
#define WS2812_T1H 224
#define WS2812_T1L 126
#define WS2812_T0H 112
#define WS2812_T0L 238

/* Shift a single 24-bit color into one WS2812B pixel on PA0.
 * WS2812 wire order is GRB, MSB first.
 *
 * Placed in ITCM (__itcm_section) so instruction fetches are zero-wait-state
 * and deterministic: executing from flash/cache can stall mid-pulse and
 * jitter the WS2812 bit timing. */
__itcm_section static void ws2812_send_color(GPIO_TypeDef *port, unsigned pin, uint32_t grb) {
  uint32_t set_mask = 1U << pin;
  uint32_t clr_mask = 1U << (pin + 16);

  /* The entire frame must be sent without interruption; any ISR that
   * stretches a pulse corrupts the color. */
  unsigned key = irq_lock();

  for (int i = 23; i >= 0; i--) {
    if (grb & (1U << i)) {
      port->BSRR = set_mask;
      delay_cycles(WS2812_T1H);
      port->BSRR = clr_mask;
      delay_cycles(WS2812_T1L);
    } else {
      port->BSRR = set_mask;
      delay_cycles(WS2812_T0H);
      port->BSRR = clr_mask;
      delay_cycles(WS2812_T0L);
    }
  }

  irq_unlock(key);

  /* Latch: hold the line low. */
  port->BSRR = clr_mask;
  k_busy_wait(60);
}

/* m64 ws2812 <RRGGBB> : shift a 24-bit color into the PA0 WS2812B. */
static int cmd_m64_leds(const struct shell *sh, size_t argc, char **argv) {
  unsigned long v;
  char *end;

  v = strtoul(argv[1], &end, 16);
  if (*end != '\0' || v > 0xFFFFFFUL) {
    shell_error(sh, "expected a 24-bit hex color, e.g. 00ff80");
    return -EINVAL;
  }
  uint8_t r = (v >> 16) & 0xFF;
  uint8_t g = (v >> 8) & 0xFF;
  uint8_t b = v & 0xFF;
  uint32_t grb = ((uint32_t)g << 16) | ((uint32_t)r << 8) | b;

  ws2812_send_color(GPIOA, 0, grb);  // Controller port #0
  ws2812_send_color(GPIOB, 3, grb);  // Controller port #1
  ws2812_send_color(GPIOB, 4, grb);  // Controller port #2
  ws2812_send_color(GPIOD, 15, grb); // Controller port #3

  shell_print(sh, "sent #%06lX", v);
  return 0;
}

void leds_setup_pins(void) {
  (void)gpio_pin_configure_dt(&ctrl_led_data_0, GPIO_OUTPUT_INACTIVE);
  (void)gpio_pin_configure_dt(&ctrl_led_data_1, GPIO_OUTPUT_INACTIVE);
  (void)gpio_pin_configure_dt(&ctrl_led_data_2, GPIO_OUTPUT_INACTIVE);
  (void)gpio_pin_configure_dt(&ctrl_led_data_3, GPIO_OUTPUT_INACTIVE);

  cyccnt_enable();
}

void leds_set_ctrl(uint8_t port, uint32_t rgb) {
  uint32_t grb = ((rgb & 0xff00) << 8) | ((rgb & 0xff0000) >> 8) | (rgb & 0xff);
  switch (port) {
  case 0:
    ws2812_send_color(GPIOA, 0, grb); // Controller port #0
    break;
  case 1:
    ws2812_send_color(GPIOB, 3, grb); // Controller port #1
    break;
  case 2:
    ws2812_send_color(GPIOB, 4, grb); // Controller port #2
    break;
  case 3:
    ws2812_send_color(GPIOD, 15, grb); // Controller port #3
    break;
  default:
    break;
  }
}

SHELL_SUBCMD_ADD((m64), leds, NULL, "Manipulate LEDs", cmd_m64_leds, 2, 0);
```

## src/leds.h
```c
#ifndef M64_LEDS_H
#define M64_LEDS_H

void leds_setup_pins(void);
void leds_set_ctrl(uint8_t port, uint32_t rgb); /* port=0,1,2,3 */

#endif /* M64_LEDS_H */
```

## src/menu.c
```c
#include "menu.h"
#include "osd.h"
#include <stdio.h>
#include <stdlib.h>
#include <string.h>

static Menu_t *curr_menu = NULL;

Menu_t *menu_create(Menu_t *parent, const char *title) {
  Menu_t *menu = (Menu_t *)calloc(1, sizeof(Menu_t));
  menu->title = title;
  menu->parent = parent;
  if (!parent)
    curr_menu = menu;

  return menu;
}

MenuItem_t *menu_item_create(Menu_t *menu, const char *str) {
  MenuItem_t *item = (MenuItem_t *)calloc(1, sizeof(MenuItem_t));
  item->str = str;

  if (menu->first_item == NULL) {
    menu->first_item = item;
    menu->curr_item = item;
  }
  item->prev = menu->last_item;
  if (menu->last_item != NULL) {
    menu->last_item->next = item;
  }
  menu->last_item = item;

  return item;
}

void menu_item_clear(Menu_t *menu) {
  MenuItem_t *item = menu->first_item;

  while (item) {
    MenuItem_t *next = item->next;
    free(item);
    item = next;
  }

  menu->first_item = NULL;
  menu->curr_item = NULL;
  menu->last_item = NULL;
}

void menu_item_set_action(MenuItem_t *item, void (*action)(struct MenuItem *item, void *opaque),
                          void *opaque) {
  item->action = action;
  item->opaque = opaque;
}

void menu_item_print(const MenuItem_t *item, char *buf, size_t size) {
  if (item->opt_list) {
    unsigned max_opt_len = 0;
    for (unsigned i = 0; item->opt_list[i]; i++)
      max_opt_len = MAX(max_opt_len, strlen(item->opt_list[i]));
    snprintf(buf, size, "%-30s <%s>", item->str, item->opt_list[item->opt_idx]);
  } else {
    snprintf(buf, size, "%s", item->str);
  }
}

static void menu_item_action(MenuItem_t *item) {
  if (item->opt_list) {
    unsigned n_opts = 0;
    while (item->opt_list[n_opts])
      n_opts++;
    item->opt_idx = (item->opt_idx + 1) % n_opts;
  }

  if (item->action)
    item->action(item, item->opaque);
}

void menu_draw() {
  const Menu_t *menu = curr_menu;
  osd_clear();
  // Draw menu banner
  osd_printf(0, 1, " %s", menu->title);
  for (unsigned i = 0; i < 3; i++)
    osd_invert(0, i, OSD_WIDTH);
  // Draw menu items
  unsigned row = 4;
  MenuItem_t *item = menu->first_item;
  while (item) {
    char buf[64];
    menu_item_print(item, buf, sizeof(buf));
    osd_printf(0, row, "%s", buf);
    if (menu->curr_item == item)
      osd_invert(0, row, OSD_WIDTH);
    item = item->next;
    row++;
  }
  osd_flush();
}

void menu_input_up() {
  if (curr_menu->curr_item->prev)
    curr_menu->curr_item = curr_menu->curr_item->prev;
}

void menu_input_down() {
  if (curr_menu->curr_item->next)
    curr_menu->curr_item = curr_menu->curr_item->next;
}

void menu_input_select() { menu_item_action(curr_menu->curr_item); }

void menu_input_back() {
  if (curr_menu->parent)
    curr_menu = curr_menu->parent;
}

void menu_action_jump_menu(struct MenuItem *item, void *opaque) { curr_menu = (Menu_t *)opaque; }
```

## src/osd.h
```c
#ifndef M64_OSD_H
#define M64_OSD_H

#define OSD_WIDTH 64
#define ODS_HEIGHT 32

int osd_printf(unsigned x, unsigned y, const char *fmt, ...);
void osd_invert(unsigned x, unsigned y, unsigned len);
void osd_clear(void);
void osd_flush(void);
void osd_enable(int enable);

#endif /* M64_OSD_H */
```
